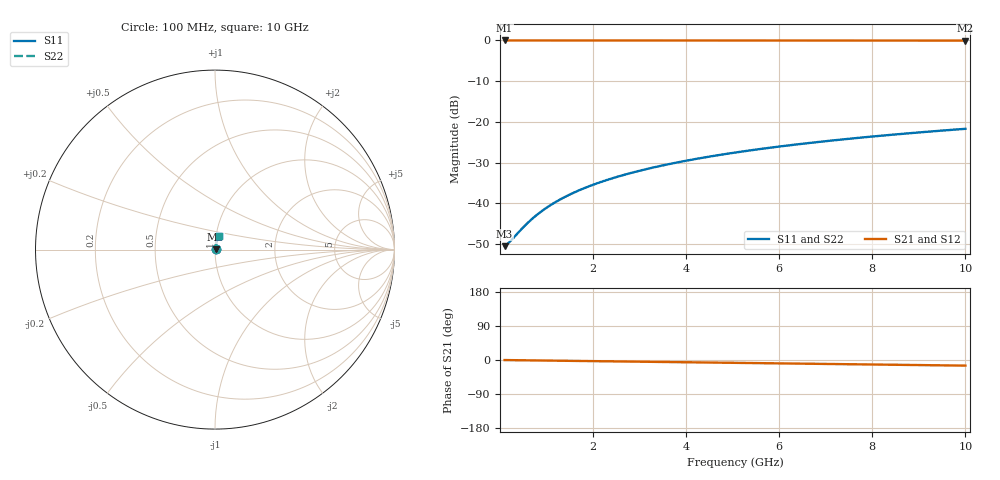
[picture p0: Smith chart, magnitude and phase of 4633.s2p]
# Hz S RI R 50.00
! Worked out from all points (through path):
!   100 points, 100 MHz to 10 GHz, reference 50 ohm
!   highest |S21| = -0.02 dB at 100 MHz (marker M1); lowest = -0.1 dB at 10 GHz (marker M2)
!   group delay of S21, straight-line fit = 4.12 ps
!   lowest |S11| = -50.5 dB at 100 MHz (marker M3), VSWR 1.01, Z = 50.3 + j0.0828 ohm
!   |S11| at or under -10 dB: start of sweep to end of sweep
!   |S22| runs from -50.5 to -21.7 dB; largest |S21 - S12| = 0
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1e8  0.00286 0.000823  0.9971 -0.00258  0.9971 -0.00258  0.00286 0.000823
2e8  0.00288 0.00165  0.9971 -0.00517  0.9971 -0.00517  0.00288 0.00165
5e8  0.00296 0.00412  0.997 -0.0129  0.997 -0.0129  0.00296 0.00412
6e8  0.00299 0.00494  0.9969 -0.0155  0.9969 -0.0155  0.00299 0.00494
7e8  0.00303 0.00576  0.9969 -0.0181  0.9969 -0.0181  0.00303 0.00576
9e8  0.00311 0.00741  0.9968 -0.0233  0.9968 -0.0233  0.00311 0.00741
1.1e9  0.0032 0.00905  0.9966 -0.0284  0.9966 -0.0284  0.0032 0.00905
1.3e9  0.00332 0.0107  0.9964 -0.0336  0.9964 -0.0336  0.00332 0.0107
1.5e9  0.00344 0.0123  0.9962 -0.0387  0.9962 -0.0387  0.00344 0.0123
1.8e9  0.00367 0.0148  0.9958 -0.0465  0.9958 -0.0465  0.00367 0.0148
2.1e9  0.00393 0.0172  0.9954 -0.0542  0.9954 -0.0542  0.00393 0.0172
2.5e9  0.00433 0.0205  0.9947 -0.0645  0.9947 -0.0645  0.00433 0.0205
2.9e9  0.0048 0.0238  0.9938 -0.0748  0.9938 -0.0748  0.0048 0.0238
3.4e9  0.00548 0.0278  0.9927 -0.0877  0.9927 -0.0877  0.00548 0.0278
3.8e9  0.00611 0.0311  0.9916 -0.098  0.9916 -0.098  0.00611 0.0311
4.2e9  0.00679 0.0343  0.9904 -0.1082  0.9904 -0.1082  0.00679 0.0343
5.1e9  0.00858 0.0414  0.9873 -0.1313  0.9873 -0.1313  0.00858 0.0414
5.9e9  0.0105 0.0477  0.984 -0.1516  0.984 -0.1516  0.0105 0.0477
6.7e9  0.0126 0.054  0.9803 -0.1719  0.9803 -0.1719  0.0126 0.054
7.5e9  0.015 0.0601  0.9761 -0.1921  0.9761 -0.1921  0.015 0.0601
8.4e9  0.0179 0.0668  0.9709 -0.2147  0.9709 -0.2147  0.0179 0.0668
1e10  0.024 0.0785  0.9602 -0.2545  0.9602 -0.2545  0.024 0.0785
